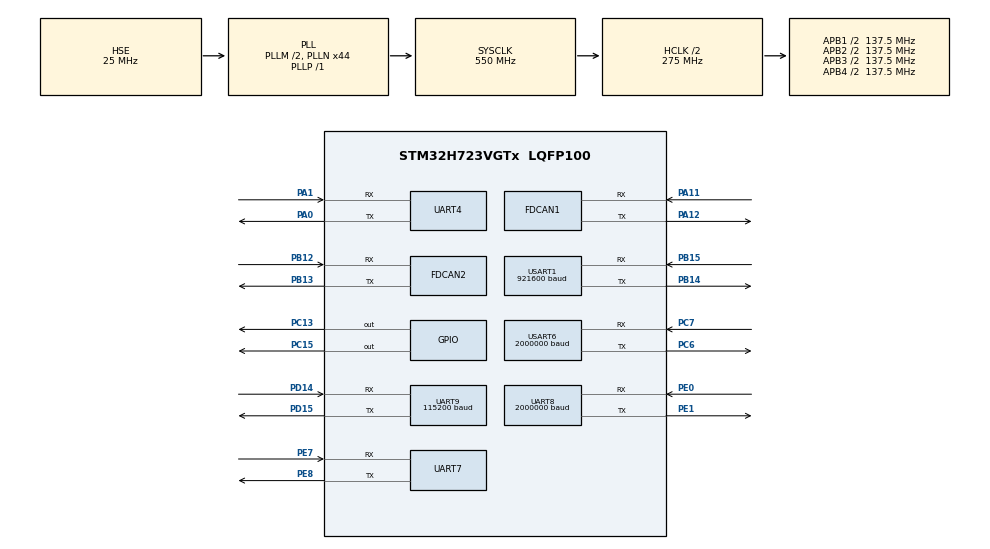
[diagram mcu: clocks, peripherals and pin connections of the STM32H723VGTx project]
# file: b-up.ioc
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CORTEX_M7.CPU_ICache=Enabled
CORTEX_M7.default_mode_Activation=1
Dma.Request0=USART1_RX
Dma.Request1=USART1_TX
Dma.Request10=USART6_RX
Dma.Request11=USART6_TX
Dma.Request2=UART4_TX
Dma.Request3=UART4_RX
Dma.Request4=UART7_RX
Dma.Request5=UART7_TX
Dma.Request6=UART9_RX
Dma.Request7=UART9_TX
Dma.Request8=UART8_RX
Dma.Request9=UART8_TX
Dma.UART4_RX.3.Direction=DMA_PERIPH_TO_MEMORY
Dma.UART4_RX.3.EventEnable=DISABLE
Dma.UART4_RX.3.FIFOMode=DMA_FIFOMODE_DISABLE
Dma.UART4_RX.3.Instance=DMA1_Stream5
Dma.UART4_RX.3.MemDataAlignment=DMA_MDATAALIGN_BYTE
Dma.UART4_RX.3.MemInc=DMA_MINC_ENABLE
Dma.UART4_RX.3.Mode=DMA_NORMAL
Dma.UART4_RX.3.PeriphDataAlignment=DMA_PDATAALIGN_BYTE
Dma.UART4_RX.3.PeriphInc=DMA_PINC_DISABLE
Dma.UART4_RX.3.Polarity=HAL_DMAMUX_REQ_GEN_RISING
Dma.UART4_RX.3.Priority=DMA_PRIORITY_LOW
Dma.UART4_RX.3.RequestNumber=1
Dma.UART4_RX.3.SignalID=NONE
Dma.UART4_RX.3.SyncEnable=DISABLE
Dma.UART4_RX.3.SyncPolarity=HAL_DMAMUX_SYNC_NO_EVENT
Dma.UART4_RX.3.SyncRequestNumber=1
Dma.UART4_RX.3.SyncSignalID=NONE
Dma.UART4_TX.2.Direction=DMA_MEMORY_TO_PERIPH
Dma.UART4_TX.2.EventEnable=DISABLE
Dma.UART4_TX.2.FIFOMode=DMA_FIFOMODE_DISABLE
Dma.UART4_TX.2.Instance=DMA1_Stream4
Dma.UART4_TX.2.MemDataAlignment=DMA_MDATAALIGN_BYTE
Dma.UART4_TX.2.MemInc=DMA_MINC_ENABLE
Dma.UART4_TX.2.Mode=DMA_NORMAL
Dma.UART4_TX.2.PeriphDataAlignment=DMA_PDATAALIGN_BYTE
Dma.UART4_TX.2.PeriphInc=DMA_PINC_DISABLE
Dma.UART4_TX.2.Polarity=HAL_DMAMUX_REQ_GEN_RISING
Dma.UART4_TX.2.Priority=DMA_PRIORITY_LOW
Dma.UART4_TX.2.RequestNumber=1
Dma.UART4_TX.2.SignalID=NONE
Dma.UART4_TX.2.SyncEnable=DISABLE
Dma.UART4_TX.2.SyncPolarity=HAL_DMAMUX_SYNC_NO_EVENT
Dma.UART4_TX.2.SyncRequestNumber=1
Dma.UART4_TX.2.SyncSignalID=NONE
Dma.UART7_RX.4.Direction=DMA_PERIPH_TO_MEMORY
Dma.UART7_RX.4.EventEnable=DISABLE
Dma.UART7_RX.4.FIFOMode=DMA_FIFOMODE_DISABLE
Dma.UART7_RX.4.Instance=DMA1_Stream6
Dma.UART7_RX.4.MemDataAlignment=DMA_MDATAALIGN_BYTE
Dma.UART7_RX.4.MemInc=DMA_MINC_ENABLE
Dma.UART7_RX.4.Mode=DMA_CIRCULAR
Dma.UART7_RX.4.PeriphDataAlignment=DMA_PDATAALIGN_BYTE
Dma.UART7_RX.4.PeriphInc=DMA_PINC_DISABLE
Dma.UART7_RX.4.Polarity=HAL_DMAMUX_REQ_GEN_RISING
Dma.UART7_RX.4.Priority=DMA_PRIORITY_LOW
Dma.UART7_RX.4.RequestNumber=1
Dma.UART7_RX.4.SignalID=NONE
Dma.UART7_RX.4.SyncEnable=DISABLE
Dma.UART7_RX.4.SyncPolarity=HAL_DMAMUX_SYNC_NO_EVENT
Dma.UART7_RX.4.SyncRequestNumber=1
Dma.UART7_RX.4.SyncSignalID=NONE
Dma.UART7_TX.5.Direction=DMA_MEMORY_TO_PERIPH
Dma.UART7_TX.5.EventEnable=DISABLE
Dma.UART7_TX.5.FIFOMode=DMA_FIFOMODE_DISABLE
Dma.UART7_TX.5.Instance=DMA1_Stream7
Dma.UART7_TX.5.MemDataAlignment=DMA_MDATAALIGN_BYTE
Dma.UART7_TX.5.MemInc=DMA_MINC_ENABLE
Dma.UART7_TX.5.Mode=DMA_NORMAL
Dma.UART7_TX.5.PeriphDataAlignment=DMA_PDATAALIGN_BYTE
Dma.UART7_TX.5.PeriphInc=DMA_PINC_DISABLE
Dma.UART7_TX.5.Polarity=HAL_DMAMUX_REQ_GEN_RISING
Dma.UART7_TX.5.Priority=DMA_PRIORITY_LOW
Dma.UART7_TX.5.RequestNumber=1
Dma.UART7_TX.5.SignalID=NONE
Dma.UART7_TX.5.SyncEnable=DISABLE
Dma.UART7_TX.5.SyncPolarity=HAL_DMAMUX_SYNC_NO_EVENT
Dma.UART7_TX.5.SyncRequestNumber=1
Dma.UART7_TX.5.SyncSignalID=NONE
Dma.UART8_RX.8.Direction=DMA_PERIPH_TO_MEMORY
Dma.UART8_RX.8.EventEnable=DISABLE
Dma.UART8_RX.8.FIFOMode=DMA_FIFOMODE_DISABLE
Dma.UART8_RX.8.Instance=DMA2_Stream2
Dma.UART8_RX.8.MemDataAlignment=DMA_MDATAALIGN_BYTE
Dma.UART8_RX.8.MemInc=DMA_MINC_ENABLE
Dma.UART8_RX.8.Mode=DMA_NORMAL
Dma.UART8_RX.8.PeriphDataAlignment=DMA_PDATAALIGN_BYTE
Dma.UART8_RX.8.PeriphInc=DMA_PINC_DISABLE
Dma.UART8_RX.8.Polarity=HAL_DMAMUX_REQ_GEN_RISING
Dma.UART8_RX.8.Priority=DMA_PRIORITY_LOW
Dma.UART8_RX.8.RequestNumber=1
Dma.UART8_RX.8.SignalID=NONE
Dma.UART8_RX.8.SyncEnable=DISABLE
Dma.UART8_RX.8.SyncPolarity=HAL_DMAMUX_SYNC_NO_EVENT
Dma.UART8_RX.8.SyncRequestNumber=1
Dma.UART8_RX.8.SyncSignalID=NONE
Dma.UART8_TX.9.Direction=DMA_MEMORY_TO_PERIPH
Dma.UART8_TX.9.EventEnable=DISABLE
Dma.UART8_TX.9.FIFOMode=DMA_FIFOMODE_DISABLE
Dma.UART8_TX.9.Instance=DMA2_Stream3
Dma.UART8_TX.9.MemDataAlignment=DMA_MDATAALIGN_BYTE
Dma.UART8_TX.9.MemInc=DMA_MINC_ENABLE
Dma.UART8_TX.9.Mode=DMA_NORMAL
Dma.UART8_TX.9.PeriphDataAlignment=DMA_PDATAALIGN_BYTE
Dma.UART8_TX.9.PeriphInc=DMA_PINC_DISABLE
Dma.UART8_TX.9.Polarity=HAL_DMAMUX_REQ_GEN_RISING
Dma.UART8_TX.9.Priority=DMA_PRIORITY_LOW
Dma.UART8_TX.9.RequestNumber=1
Dma.UART8_TX.9.SignalID=NONE
Dma.UART8_TX.9.SyncEnable=DISABLE
Dma.UART8_TX.9.SyncPolarity=HAL_DMAMUX_SYNC_NO_EVENT
Dma.UART8_TX.9.SyncRequestNumber=1
Dma.UART8_TX.9.SyncSignalID=NONE
Dma.UART9_RX.6.Direction=DMA_PERIPH_TO_MEMORY
Dma.UART9_RX.6.EventEnable=DISABLE
Dma.UART9_RX.6.FIFOMode=DMA_FIFOMODE_DISABLE
Dma.UART9_RX.6.Instance=DMA2_Stream0
Dma.UART9_RX.6.MemDataAlignment=DMA_MDATAALIGN_BYTE
Dma.UART9_RX.6.MemInc=DMA_MINC_ENABLE
Dma.UART9_RX.6.Mode=DMA_NORMAL
Dma.UART9_RX.6.PeriphDataAlignment=DMA_PDATAALIGN_BYTE
Dma.UART9_RX.6.PeriphInc=DMA_PINC_DISABLE
Dma.UART9_RX.6.Polarity=HAL_DMAMUX_REQ_GEN_RISING
Dma.UART9_RX.6.Priority=DMA_PRIORITY_LOW
Dma.UART9_RX.6.RequestNumber=1
Dma.UART9_RX.6.SignalID=NONE
Dma.UART9_RX.6.SyncEnable=DISABLE
Dma.UART9_RX.6.SyncPolarity=HAL_DMAMUX_SYNC_NO_EVENT
Dma.UART9_RX.6.SyncRequestNumber=1
Dma.UART9_RX.6.SyncSignalID=NONE
Dma.UART9_TX.7.Direction=DMA_MEMORY_TO_PERIPH
Dma.UART9_TX.7.EventEnable=DISABLE
Dma.UART9_TX.7.FIFOMode=DMA_FIFOMODE_DISABLE
Dma.UART9_TX.7.Instance=DMA2_Stream1
Dma.UART9_TX.7.MemDataAlignment=DMA_MDATAALIGN_BYTE
Dma.UART9_TX.7.MemInc=DMA_MINC_ENABLE
Dma.UART9_TX.7.Mode=DMA_NORMAL
Dma.UART9_TX.7.PeriphDataAlignment=DMA_PDATAALIGN_BYTE
Dma.UART9_TX.7.PeriphInc=DMA_PINC_DISABLE
Dma.UART9_TX.7.Polarity=HAL_DMAMUX_REQ_GEN_RISING
Dma.UART9_TX.7.Priority=DMA_PRIORITY_LOW
Dma.UART9_TX.7.RequestNumber=1
Dma.UART9_TX.7.SignalID=NONE
Dma.UART9_TX.7.SyncEnable=DISABLE
Dma.UART9_TX.7.SyncPolarity=HAL_DMAMUX_SYNC_NO_EVENT
Dma.UART9_TX.7.SyncRequestNumber=1
Dma.UART9_TX.7.SyncSignalID=NONE
Dma.USART1_RX.0.Direction=DMA_PERIPH_TO_MEMORY
Dma.USART1_RX.0.EventEnable=DISABLE
Dma.USART1_RX.0.FIFOMode=DMA_FIFOMODE_DISABLE
Dma.USART1_RX.0.Instance=DMA1_Stream2
Dma.USART1_RX.0.MemDataAlignment=DMA_MDATAALIGN_BYTE
Dma.USART1_RX.0.MemInc=DMA_MINC_ENABLE
Dma.USART1_RX.0.Mode=DMA_CIRCULAR
Dma.USART1_RX.0.PeriphDataAlignment=DMA_PDATAALIGN_BYTE
Dma.USART1_RX.0.PeriphInc=DMA_PINC_DISABLE
Dma.USART1_RX.0.Polarity=HAL_DMAMUX_REQ_GEN_RISING
Dma.USART1_RX.0.Priority=DMA_PRIORITY_VERY_HIGH
Dma.USART1_RX.0.RequestNumber=1
Dma.USART1_RX.0.SignalID=NONE
Dma.USART1_RX.0.SyncEnable=DISABLE
Dma.USART1_RX.0.SyncPolarity=HAL_DMAMUX_SYNC_NO_EVENT
Dma.USART1_RX.0.SyncRequestNumber=1
Dma.USART1_RX.0.SyncSignalID=NONE
Dma.USART1_TX.1.Direction=DMA_MEMORY_TO_PERIPH
Dma.USART1_TX.1.EventEnable=DISABLE
Dma.USART1_TX.1.FIFOMode=DMA_FIFOMODE_DISABLE
Dma.USART1_TX.1.Instance=DMA1_Stream3
Dma.USART1_TX.1.MemDataAlignment=DMA_MDATAALIGN_BYTE
Dma.USART1_TX.1.MemInc=DMA_MINC_ENABLE
Dma.USART1_TX.1.Mode=DMA_NORMAL
Dma.USART1_TX.1.PeriphDataAlignment=DMA_PDATAALIGN_BYTE
Dma.USART1_TX.1.PeriphInc=DMA_PINC_DISABLE
Dma.USART1_TX.1.Polarity=HAL_DMAMUX_REQ_GEN_RISING
Dma.USART1_TX.1.Priority=DMA_PRIORITY_HIGH
Dma.USART1_TX.1.RequestNumber=1
Dma.USART1_TX.1.SignalID=NONE
Dma.USART1_TX.1.SyncEnable=DISABLE
Dma.USART1_TX.1.SyncPolarity=HAL_DMAMUX_SYNC_NO_EVENT
Dma.USART1_TX.1.SyncRequestNumber=1
Dma.USART1_TX.1.SyncSignalID=NONE
Dma.USART6_RX.10.Direction=DMA_PERIPH_TO_MEMORY
Dma.USART6_RX.10.EventEnable=DISABLE
Dma.USART6_RX.10.FIFOMode=DMA_FIFOMODE_DISABLE
Dma.USART6_RX.10.Instance=DMA1_Stream0
Dma.USART6_RX.10.MemDataAlignment=DMA_MDATAALIGN_BYTE
Dma.USART6_RX.10.MemInc=DMA_MINC_ENABLE
Dma.USART6_RX.10.Mode=DMA_CIRCULAR
Dma.USART6_RX.10.PeriphDataAlignment=DMA_PDATAALIGN_BYTE
Dma.USART6_RX.10.PeriphInc=DMA_PINC_DISABLE
Dma.USART6_RX.10.Polarity=HAL_DMAMUX_REQ_GEN_RISING
Dma.USART6_RX.10.Priority=DMA_PRIORITY_LOW
Dma.USART6_RX.10.RequestNumber=1
Dma.USART6_RX.10.SignalID=NONE
Dma.USART6_RX.10.SyncEnable=DISABLE
Dma.USART6_RX.10.SyncPolarity=HAL_DMAMUX_SYNC_NO_EVENT
Dma.USART6_RX.10.SyncRequestNumber=1
Dma.USART6_RX.10.SyncSignalID=NONE
Dma.USART6_TX.11.Direction=DMA_MEMORY_TO_PERIPH
Dma.USART6_TX.11.EventEnable=DISABLE
Dma.USART6_TX.11.FIFOMode=DMA_FIFOMODE_DISABLE
Dma.USART6_TX.11.Instance=DMA1_Stream1
Dma.USART6_TX.11.MemDataAlignment=DMA_MDATAALIGN_BYTE
Dma.USART6_TX.11.MemInc=DMA_MINC_ENABLE
Dma.USART6_TX.11.Mode=DMA_NORMAL
Dma.USART6_TX.11.PeriphDataAlignment=DMA_PDATAALIGN_BYTE
Dma.USART6_TX.11.PeriphInc=DMA_PINC_DISABLE
Dma.USART6_TX.11.Polarity=HAL_DMAMUX_REQ_GEN_RISING
Dma.USART6_TX.11.Priority=DMA_PRIORITY_LOW
Dma.USART6_TX.11.RequestNumber=1
Dma.USART6_TX.11.SignalID=NONE
Dma.USART6_TX.11.SyncEnable=DISABLE
Dma.USART6_TX.11.SyncPolarity=HAL_DMAMUX_SYNC_NO_EVENT
Dma.USART6_TX.11.SyncRequestNumber=1
Dma.USART6_TX.11.SyncSignalID=NONE
FDCAN1.AutoRetransmission=ENABLE
FDCAN1.CalculateBaudRateNominal=1000000
FDCAN1.CalculateTimeBitNominal=1000
FDCAN1.CalculateTimeQuantumNominal=50.0
FDCAN1.DataPrescaler=5
FDCAN1.DataSyncJumpWidth=5
FDCAN1.DataTimeSeg1=14
FDCAN1.DataTimeSeg2=5
FDCAN1.ExtFiltersNbr=8
FDCAN1.MessageRAMOffset=0
FDCAN1.NominalPrescaler=5
FDCAN1.NominalSyncJumpWidth=5
FDCAN1.NominalTimeSeg1=14
FDCAN1.NominalTimeSeg2=5
FDCAN1.RxFifo0ElmtsNbr=32
FDCAN1.TxFifoQueueElmtsNbr=16
FDCAN2.AutoRetransmission=ENABLE
FDCAN2.CalculateBaudRateNominal=1000000
FDCAN2.CalculateTimeBitNominal=1000
FDCAN2.CalculateTimeQuantumNominal=50.0
FDCAN2.DataPrescaler=5
FDCAN2.DataSyncJumpWidth=5
FDCAN2.DataTimeSeg1=14
FDCAN2.DataTimeSeg2=5
FDCAN2.ExtFiltersNbr=8
FDCAN2.MessageRAMOffset=208
FDCAN2.NominalPrescaler=5
FDCAN2.NominalSyncJumpWidth=5
FDCAN2.NominalTimeSeg1=14
FDCAN2.NominalTimeSeg2=5
FDCAN2.RxFifo0ElmtsNbr=32
FDCAN2.TxFifoQueueElmtsNbr=16
FREERTOS.HEAP_NUMBER=4
FREERTOS.INCLUDE_eTaskGetState=1
FREERTOS.INCLUDE_uxTaskGetStackHighWaterMark=1
FREERTOS.INCLUDE_vTaskDelayUntil=1
FREERTOS.Tasks01=startupReminder,24,256,StartStartupReminderTask,As weak,NULL,Dynamic,NULL,NULL;chassisTask,32,1024,StartChassisTask,As weak,NULL,Dynamic,NULL,NULL;liftTask,32,1024,StartLiftTask,As weak,NULL,Dynamic,NULL,NULL;commTask,40,768,StartCommTask,As weak,NULL,Dynamic,NULL,NULL
FREERTOS.configCHECK_FOR_STACK_OVERFLOW=2
FREERTOS.configENABLE_FPU=1
FREERTOS.configMINIMAL_STACK_SIZE=256
FREERTOS.configTICK_RATE_HZ=1000
FREERTOS.configTOTAL_HEAP_SIZE=65536
FREERTOS.configUSE_MALLOC_FAILED_HOOK=1
FREERTOS.configUSE_NEWLIB_REENTRANT=0
FREERTOS.configUSE_PREEMPTION=1
FREERTOS.configUSE_TIMERS=0
Mcu.Family=STM32H7
Mcu.Name=STM32H723VGTx
Mcu.Package=LQFP100
NVIC.DMA1_Stream0_IRQn=true\:5\:0\:false\:false\:true\:true\:true\:true\:true
NVIC.DMA1_Stream1_IRQn=true\:5\:0\:false\:false\:true\:true\:true\:true\:true
NVIC.DMA1_Stream2_IRQn=true\:5\:0\:false\:false\:true\:false\:true\:true\:true
NVIC.DMA1_Stream3_IRQn=true\:5\:0\:false\:false\:true\:false\:true\:true\:true
NVIC.DMA1_Stream4_IRQn=true\:5\:0\:false\:false\:true\:true\:false\:true\:true
NVIC.DMA1_Stream5_IRQn=true\:5\:0\:false\:false\:true\:true\:false\:true\:true
NVIC.DMA1_Stream6_IRQn=true\:5\:0\:false\:false\:true\:true\:false\:true\:true
NVIC.DMA1_Stream7_IRQn=true\:5\:0\:false\:false\:true\:true\:false\:true\:true
NVIC.DMA2_Stream0_IRQn=true\:5\:0\:false\:false\:true\:true\:false\:true\:true
NVIC.DMA2_Stream1_IRQn=true\:5\:0\:false\:false\:true\:true\:false\:true\:true
NVIC.DMA2_Stream2_IRQn=true\:5\:0\:false\:false\:true\:true\:false\:true\:true
NVIC.DMA2_Stream3_IRQn=true\:5\:0\:false\:false\:true\:true\:false\:true\:true
NVIC.FDCAN1_IT0_IRQn=true\:5\:0\:false\:false\:true\:true\:true\:true\:true
NVIC.FDCAN2_IT0_IRQn=true\:5\:0\:false\:false\:true\:true\:true\:true\:true
NVIC.PriorityGroup=NVIC_PRIORITYGROUP_4
NVIC.TIM6_DAC_IRQn=true\:15\:0\:false\:false\:true\:false\:false\:true\:true
NVIC.TimeBase=TIM6_DAC_IRQn
NVIC.TimeBaseIP=TIM6
NVIC.UART4_IRQn=true\:5\:0\:false\:false\:true\:true\:false\:true\:true
NVIC.UART7_IRQn=true\:5\:0\:false\:false\:true\:true\:true\:true\:true
NVIC.UART8_IRQn=true\:5\:0\:false\:false\:true\:true\:true\:true\:true
NVIC.UART9_IRQn=true\:5\:0\:false\:false\:true\:true\:true\:true\:true
NVIC.USART1_IRQn=true\:5\:0\:false\:false\:true\:false\:true\:true\:true
NVIC.USART6_IRQn=true\:5\:0\:false\:false\:true\:true\:true\:true\:true
PA0.Mode=Asynchronous
PA0.Signal=UART4_TX
PA1.Mode=Asynchronous
PA1.Signal=UART4_RX
PA11.Mode=FDCAN_Activate
PA11.Signal=FDCAN1_RX
PA12.Mode=FDCAN_Activate
PA12.Signal=FDCAN1_TX
PA13(JTMS/SWDIO).Mode=Serial_Wire
PA13(JTMS/SWDIO).Signal=DEBUG_JTMS-SWDIO
PA14(JTCK/SWCLK).Mode=Serial_Wire
PA14(JTCK/SWCLK).Signal=DEBUG_JTCK-SWCLK
PB12.Mode=FDCAN_Activate
PB12.Signal=FDCAN2_RX
PB13.Mode=FDCAN_Activate
PB13.Signal=FDCAN2_TX
PB14.Mode=Asynchronous
PB14.Signal=USART1_TX
PB15.Mode=Asynchronous
PB15.Signal=USART1_RX
PC13.Signal=GPIO_Output
PC15-OSC32_OUT.Signal=GPIO_Output
PC6.Mode=Asynchronous
PC6.Signal=USART6_TX
PC7.Mode=Asynchronous
PC7.Signal=USART6_RX
PD14.Mode=Asynchronous
PD14.Signal=UART9_RX
PD15.Mode=Asynchronous
PD15.Signal=UART9_TX
PE0.Mode=Asynchronous
PE0.Signal=UART8_RX
PE1.Mode=Asynchronous
PE1.Signal=UART8_TX
PE7.Mode=Asynchronous
PE7.Signal=UART7_RX
PE8.Mode=Asynchronous
PE8.Signal=UART7_TX
PH0-OSC_IN.Mode=HSE-External-Oscillator
PH0-OSC_IN.Signal=RCC_OSC_IN
PH1-OSC_OUT.Mode=HSE-External-Oscillator
PH1-OSC_OUT.Signal=RCC_OSC_OUT
ProjectManager.HeapSize=0x200
ProjectManager.StackSize=0x1000
ProjectManager.TargetToolchain=MDK-ARM V5.32
RCC.ADCFreq_Value=100000000
RCC.APB1Freq_Value=137500000
RCC.APB2Freq_Value=137500000
RCC.APB3Freq_Value=137500000
RCC.APB4Freq_Value=137500000
RCC.CortexFreq_Value=550000000
RCC.D1PPRE=RCC_APB3_DIV2
RCC.D2PPRE1=RCC_APB1_DIV2
RCC.D2PPRE2=RCC_APB2_DIV2
RCC.D3PPRE=RCC_APB4_DIV2
RCC.DIVM1=2
RCC.DIVM2=2
RCC.DIVM3=5
RCC.DIVN1=44
RCC.DIVN2=16
RCC.DIVN3=64
RCC.DIVP1=1
RCC.DIVQ1=4
RCC.DIVQ2=2
RCC.FDCANCLockSelection=RCC_FDCANCLKSOURCE_PLL2
RCC.HCLKFreq_Value=275000000
RCC.HPRE=RCC_HCLK_DIV2
RCC.PLL2FRACN=0
RCC.PLLFRACN=0
RCC.PLLSourceVirtual=RCC_PLLSOURCE_HSE
RCC.SYSCLKFreq_VALUE=550000000
RCC.SYSCLKSource=RCC_SYSCLKSOURCE_PLLCLK
RCC.USART234578CLockSelection=RCC_USART234578CLKSOURCE_PLL2
RCC.USBFreq_Value=137500000
UART8.BaudRate=2000000
UART9.BaudRate=115200
USART1.BaudRate=921600
USART1.VirtualMode-Asynchronous=VM_ASYNC
USART6.BaudRate=2000000
USART6.VirtualMode=VM_ASYNC
VP_FREERTOS_VS_CMSIS_V2.Mode=CMSIS_V2
VP_MEMORYMAP_VS_MEMORYMAP.Mode=CurAppReg
VP_SYS_VS_tim6.Mode=TIM6
board=custom

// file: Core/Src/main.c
/* USER CODE BEGIN Header */
/**
  ******************************************************************************
  * @file           : main.c
  * @brief          : Main program body
  ******************************************************************************
  * @attention
  *
  * Copyright (c) 2026 STMicroelectronics.
  * All rights reserved.
  *
  * This software is licensed under terms that can be found in the LICENSE file
  * in the root directory of this software component.
  * If no LICENSE file comes with this software, it is provided AS-IS.
  *
  ******************************************************************************
  */
/* USER CODE END Header */
#include "main.h"
#include "FreeRTOS.h"
#include "cmsis_os2.h"
#include "dma.h"
#include "fdcan.h"
#include "usart.h"
#include "gpio.h"

/* USER CODE BEGIN Includes */
#include "computer_link.h"
#include "dt35_pnp_link.h"
#include "imu_main.h"
#include "lora_link.h"
#include "mcu_link.h"
#include "raw_uart_bridge.h"
#include "sc_link.h"

/* USER CODE END Includes */

void SystemClock_Config(void);
void PeriphCommonClock_Config(void);
static void MPU_Config(void);
void MX_FREERTOS_Init(void);

int main(void)
{

  /* MPU Configuration--------------------------------------------------------*/
  MPU_Config();

  /* Enable the CPU Cache */

  /* Enable I-Cache---------------------------------------------------------*/
  SCB_EnableICache();

  /* MCU Configuration--------------------------------------------------------*/

  /* Reset of all peripherals, Initializes the Flash interface and the Systick. */
  HAL_Init();

  /* Configure the system clock */
  SystemClock_Config();

  /* Configure the peripherals common clocks */
  PeriphCommonClock_Config();

  /* Initialize all configured peripherals */
  MX_GPIO_Init();
  MX_DMA_Init();
  MX_FDCAN1_Init();
  MX_FDCAN2_Init();
  MX_USART1_UART_Init();
  MX_UART4_Init();
  MX_UART7_Init();
  MX_UART9_Init();
  MX_UART8_Init();
  MX_USART6_UART_Init();
  /* USER CODE BEGIN 2 */
  HAL_Delay(1000);
  /* USER CODE END 2 */

  /* Init scheduler */
  osKernelInitialize();  /* Call init function for freertos objects (in cmsis_os2.c) */
  MX_FREERTOS_Init();

  /* Start scheduler */
  osKernelStart();

  /* We should never get here as control is now taken by the scheduler */

  /* Infinite loop */
  while (1)
  {

  }
}

void SystemClock_Config(void)
{
  RCC_OscInitTypeDef RCC_OscInitStruct = {0};
  RCC_ClkInitTypeDef RCC_ClkInitStruct = {0};

  /** Supply configuration update enable
  */
  HAL_PWREx_ConfigSupply(PWR_LDO_SUPPLY);

  /** Configure the main internal regulator output voltage
  */
  __HAL_PWR_VOLTAGESCALING_CONFIG(PWR_REGULATOR_VOLTAGE_SCALE0);

  while(!__HAL_PWR_GET_FLAG(PWR_FLAG_VOSRDY)) {}

  /** Initializes the RCC Oscillators according to the specified parameters
  * in the RCC_OscInitTypeDef structure.
  */
  RCC_OscInitStruct.OscillatorType = RCC_OSCILLATORTYPE_HSE;
  RCC_OscInitStruct.HSEState = RCC_HSE_ON;
  RCC_OscInitStruct.PLL.PLLState = RCC_PLL_ON;
  RCC_OscInitStruct.PLL.PLLSource = RCC_PLLSOURCE_HSE;
  RCC_OscInitStruct.PLL.PLLM = 2;
  RCC_OscInitStruct.PLL.PLLN = 44;
  RCC_OscInitStruct.PLL.PLLP = 1;
  RCC_OscInitStruct.PLL.PLLQ = 4;
  RCC_OscInitStruct.PLL.PLLR = 2;
  RCC_OscInitStruct.PLL.PLLRGE = RCC_PLL1VCIRANGE_3;
  RCC_OscInitStruct.PLL.PLLVCOSEL = RCC_PLL1VCOWIDE;
  RCC_OscInitStruct.PLL.PLLFRACN = 0;
  if (HAL_RCC_OscConfig(&RCC_OscInitStruct) != HAL_OK)
  {
    Error_Handler();
  }

  /** Initializes the CPU, AHB and APB buses clocks
  */
  RCC_ClkInitStruct.ClockType = RCC_CLOCKTYPE_HCLK|RCC_CLOCKTYPE_SYSCLK
                              |RCC_CLOCKTYPE_PCLK1|RCC_CLOCKTYPE_PCLK2
                              |RCC_CLOCKTYPE_D3PCLK1|RCC_CLOCKTYPE_D1PCLK1;
  RCC_ClkInitStruct.SYSCLKSource = RCC_SYSCLKSOURCE_PLLCLK;
  RCC_ClkInitStruct.SYSCLKDivider = RCC_SYSCLK_DIV1;
  RCC_ClkInitStruct.AHBCLKDivider = RCC_HCLK_DIV2;
  RCC_ClkInitStruct.APB3CLKDivider = RCC_APB3_DIV2;
  RCC_ClkInitStruct.APB1CLKDivider = RCC_APB1_DIV2;
  RCC_ClkInitStruct.APB2CLKDivider = RCC_APB2_DIV2;
  RCC_ClkInitStruct.APB4CLKDivider = RCC_APB4_DIV2;

  if (HAL_RCC_ClockConfig(&RCC_ClkInitStruct, FLASH_LATENCY_3) != HAL_OK)
  {
    Error_Handler();
  }
}

void PeriphCommonClock_Config(void)
{
  RCC_PeriphCLKInitTypeDef PeriphClkInitStruct = {0};

  /** Initializes the peripherals clock
  */
  PeriphClkInitStruct.PeriphClockSelection = RCC_PERIPHCLK_UART8|RCC_PERIPHCLK_FDCAN
                              |RCC_PERIPHCLK_UART7|RCC_PERIPHCLK_UART4;
  PeriphClkInitStruct.PLL2.PLL2M = 2;
  PeriphClkInitStruct.PLL2.PLL2N = 16;
  PeriphClkInitStruct.PLL2.PLL2P = 2;
  PeriphClkInitStruct.PLL2.PLL2Q = 2;
  PeriphClkInitStruct.PLL2.PLL2R = 2;
  PeriphClkInitStruct.PLL2.PLL2RGE = RCC_PLL2VCIRANGE_3;
  PeriphClkInitStruct.PLL2.PLL2VCOSEL = RCC_PLL2VCOWIDE;
  PeriphClkInitStruct.PLL2.PLL2FRACN = 0;
  PeriphClkInitStruct.FdcanClockSelection = RCC_FDCANCLKSOURCE_PLL2;
  PeriphClkInitStruct.Usart234578ClockSelection = RCC_USART234578CLKSOURCE_PLL2;
  if (HAL_RCCEx_PeriphCLKConfig(&PeriphClkInitStruct) != HAL_OK)
  {
    Error_Handler();
  }
}

/* USER CODE BEGIN 4 */
void HAL_UART_RxCpltCallback(UART_HandleTypeDef *huart)
{
  ComputerLink_RxCplt(huart);
  DT35PnpLink_RxCplt(huart);
}

void HAL_UARTEx_RxEventCallback(UART_HandleTypeDef *huart, uint16_t size)
{
  ImuMain_HandleRxEvent(huart, size);
}

void HAL_UART_TxCpltCallback(UART_HandleTypeDef *huart)
{
  ComputerLink_TxCplt(huart);
  McuLink_HandleTxCplt(huart);
  RawUartBridge_HandleTxCplt(huart);
  ScLink_HandleTxCplt(huart);
}

void HAL_UART_ErrorCallback(UART_HandleTypeDef *huart)
{
  ComputerLink_Error(huart);
  DT35PnpLink_Error(huart);
  ImuMain_HandleUartError(huart);
  LoraLink_HandleUartError(huart);
  McuLink_HandleUartError(huart);
  RawUartBridge_HandleUartError(huart);
  ScLink_HandleUartError(huart);
}

/* USER CODE END 4 */

 /* MPU Configuration */

void MPU_Config(void)
{
  MPU_Region_InitTypeDef MPU_InitStruct = {0};

  /* Disables the MPU */
  HAL_MPU_Disable();

  /** Initializes and configures the Region and the memory to be protected
  */
  MPU_InitStruct.Enable = MPU_REGION_ENABLE;
  MPU_InitStruct.Number = MPU_REGION_NUMBER0;
  MPU_InitStruct.BaseAddress = 0x0;
  MPU_InitStruct.Size = MPU_REGION_SIZE_4GB;
  MPU_InitStruct.SubRegionDisable = 0x87;
  MPU_InitStruct.TypeExtField = MPU_TEX_LEVEL0;
  MPU_InitStruct.AccessPermission = MPU_REGION_NO_ACCESS;
  MPU_InitStruct.DisableExec = MPU_INSTRUCTION_ACCESS_DISABLE;
  MPU_InitStruct.IsShareable = MPU_ACCESS_SHAREABLE;
  MPU_InitStruct.IsCacheable = MPU_ACCESS_NOT_CACHEABLE;
  MPU_InitStruct.IsBufferable = MPU_ACCESS_NOT_BUFFERABLE;

  HAL_MPU_ConfigRegion(&MPU_InitStruct);
  /* Enables the MPU */
  HAL_MPU_Enable(MPU_PRIVILEGED_DEFAULT);

}

void HAL_TIM_PeriodElapsedCallback(TIM_HandleTypeDef *htim)
{
  if (htim->Instance == TIM6)
  {
    HAL_IncTick();
  }
}

void Error_Handler(void)
{
  __disable_irq();
  while (1)
  {
  }
}

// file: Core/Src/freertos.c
/* USER CODE BEGIN Header */
/**
  ******************************************************************************
  * File Name          : freertos.c
  * Description        : Code for freertos applications
  ******************************************************************************
  * @attention
  *
  * Copyright (c) 2026 STMicroelectronics.
  * All rights reserved.
  *
  * This software is licensed under terms that can be found in the LICENSE file
  * in the root directory of this software component.
  * If no LICENSE file comes with this software, it is provided AS-IS.
  *
  ******************************************************************************
  */
/* USER CODE END Header */

#include "FreeRTOS.h"
#include "task.h"
#include "main.h"
#include "FreeRTOS.h"
#include "cmsis_os2.h"

/* USER CODE BEGIN Includes */
#include "action_api.h"
#include "auto_chassis.h"
#include "chassis_main.h"
#include "computer_link.h"
#include "dt35_pnp_link.h"
#include "imu_main.h"
#include "lora_link.h"
#include "mcu_link.h"
#include "path_main.h"
#include "raw_uart_bridge.h"
#include "sc_link.h"
#include "up_main.h"
#include "usart.h"
#include "gpio.h"

/* USER CODE END Includes */

/* Definitions for startupReminder */
osThreadId_t startupReminderHandle;
const osThreadAttr_t startupReminder_attributes = {
  .name = "startupReminder",
  .stack_size = 256 * 4,
  .priority = (osPriority_t) osPriorityNormal,
};
/* Definitions for chassisTask */
osThreadId_t chassisTaskHandle;
const osThreadAttr_t chassisTask_attributes = {
  .name = "chassisTask",
  .stack_size = 1024 * 4,
  .priority = (osPriority_t) osPriorityAboveNormal,
};
/* Definitions for liftTask */
osThreadId_t liftTaskHandle;
const osThreadAttr_t liftTask_attributes = {
  .name = "liftTask",
  .stack_size = 1024 * 4,
  .priority = (osPriority_t) osPriorityAboveNormal,
};
/* Definitions for commTask */
osThreadId_t commTaskHandle;
const osThreadAttr_t commTask_attributes = {
  .name = "commTask",
  .stack_size = 768 * 4,
  .priority = (osPriority_t) osPriorityHigh,
};

void StartStartupReminderTask(void *argument);
void StartChassisTask(void *argument);
void StartLiftTask(void *argument);
void StartCommTask(void *argument);

void MX_FREERTOS_Init(void); /* (MISRA C 2004 rule 8.1) */

/* Hook prototypes */
void vApplicationStackOverflowHook(xTaskHandle xTask, char *pcTaskName);
void vApplicationMallocFailedHook(void);

/* USER CODE BEGIN 4 */
void vApplicationStackOverflowHook(xTaskHandle xTask, char *pcTaskName)
{
   /* Run time stack overflow checking is performed if
   configCHECK_FOR_STACK_OVERFLOW is defined to 1 or 2. This hook function is
   called if a stack overflow is detected. */
}
/* USER CODE END 4 */

/* USER CODE BEGIN 5 */
void vApplicationMallocFailedHook(void)
{

}
/* USER CODE END 5 */

void MX_FREERTOS_Init(void) {

  /* Create the thread(s) */
  /* creation of startupReminder */
  startupReminderHandle = osThreadNew(StartStartupReminderTask, NULL, &startupReminder_attributes);

  /* creation of chassisTask */
  chassisTaskHandle = osThreadNew(StartChassisTask, NULL, &chassisTask_attributes);

  /* creation of liftTask */
  liftTaskHandle = osThreadNew(StartLiftTask, NULL, &liftTask_attributes);

  /* creation of commTask */
  commTaskHandle = osThreadNew(StartCommTask, NULL, &commTask_attributes);

}

__weak void StartStartupReminderTask(void *argument)
{
  /* USER CODE BEGIN StartStartupReminderTask */
  (void)argument;

  HAL_GPIO_WritePin(GPIOC, GPIO_PIN_13, GPIO_PIN_SET);

  /* 每次 MCU 复位后重新播放两声启动提示音。 */
  for (uint32_t beep = 0U; beep < 2U; beep++)
  {
for (uint32_t cycle = 0U; cycle < 80U; cycle++)
{
  HAL_GPIO_WritePin(GPIOC, GPIO_PIN_15, GPIO_PIN_SET);
  (void)osDelay(1U);
  HAL_GPIO_WritePin(GPIOC, GPIO_PIN_15, GPIO_PIN_RESET);
  (void)osDelay(1U);
}

    (void)osDelay(80U);
  }

  HAL_GPIO_WritePin(GPIOC, GPIO_PIN_15, GPIO_PIN_RESET);
  osThreadExit();
  /* USER CODE END StartStartupReminderTask */
}

__weak void StartChassisTask(void *argument)
{
  /* USER CODE BEGIN StartChassisTask */
  uint32_t next_tick = osKernelGetTickCount();
  uint32_t next_init_retry = next_tick;
  HAL_StatusTypeDef chassis_result;
  HAL_StatusTypeDef imu_result;

  (void)argument;
  imu_result = ImuMain_Init();
  chassis_result = Chassis_Init();

  /* Infinite loop */
  for(;;)
  {
    uint32_t now = osKernelGetTickCount();

    if ((imu_result != HAL_OK) &&
        ((int32_t)(now - next_init_retry) >= 0))
    {
      imu_result = ImuMain_Init();
    }
    if ((chassis_result != HAL_OK) &&
        ((int32_t)(now - next_init_retry) >= 0))
    {
      chassis_result = Chassis_Init();
    }
    if (((imu_result != HAL_OK) || (chassis_result != HAL_OK)) &&
        ((int32_t)(now - next_init_retry) >= 0))
    {
      next_init_retry = now + 2000U;
    }

    if (imu_result == HAL_OK)
    {
      ImuMain_Run1ms();
    }
    if (chassis_result == HAL_OK)
    {
      Chassis_Run1ms();
    }

    next_tick += 1U;
    (void)osDelayUntil(next_tick);
  }
  /* USER CODE END StartChassisTask */
}

__weak void StartLiftTask(void *argument)
{
  /* USER CODE BEGIN StartLiftTask */
  uint32_t next_tick = osKernelGetTickCount();
  HAL_StatusTypeDef up_result;

  (void)argument;
  up_result = Up_Init();
  /* Infinite loop */
  for(;;)
  {
    if (up_result == HAL_OK)
    {
      Up_Run1ms();
      Action_Run1ms();
    }

    next_tick += 1U;
    (void)osDelayUntil(next_tick);
  }
  /* USER CODE END StartLiftTask */
}

__weak void StartCommTask(void *argument)
{
  /* USER CODE BEGIN StartCommTask */
  (void)argument;
  (void)ComputerLink_Init(&huart4);
  (void)DT35PnpLink_Init(&huart9);
  (void)LoraLink_Init(&huart7);
  (void)McuLink_InitTx(&huart6);
  (void)RawUartBridge_Init(&huart6, &huart7);
  (void)ScLink_Init(&huart8);
  AutoChassis_Init();
  PathMain_Init();

  /* Infinite loop */
  for(;;)
  {
    DT35PnpLink_Run();
    LoraLink_Run();
    McuLink_Run();
    RawUartBridge_Run();
    ScLink_Run();
    Action_UpdatePnp(pnp_link[PNP_LINK_LEFT_INDEX].trigger,
                     pnp_link[PNP_LINK_RIGHT_INDEX].trigger);
    Action_UpdateAlignSwitch(lora_remote_pd6_switch,
                             lora_remote_online);
    Action_UpdateRemoteButtons(lora_remote_buttons,
                               lora_remote_online);
    ComputerLink_Run();
    AutoChassis_Run();
    PathMain_Run(lora_remote_buttons, lora_remote_online);
    osDelay(1);
  }
  /* USER CODE END StartCommTask */
}
